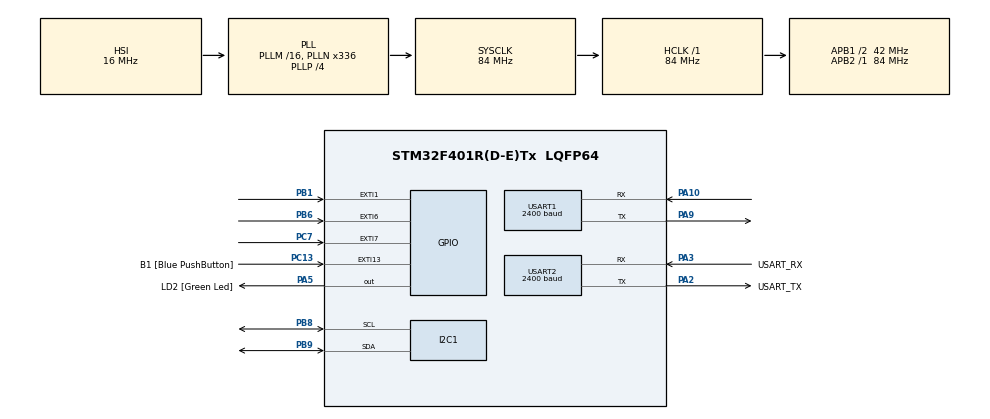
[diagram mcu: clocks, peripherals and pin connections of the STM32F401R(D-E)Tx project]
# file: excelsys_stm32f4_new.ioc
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Mcu.Family=STM32F4
Mcu.Name=STM32F401R(D-E)Tx
Mcu.Package=LQFP64
NVIC.PriorityGroup=NVIC_PRIORITYGROUP_0
NVIC.USART1_IRQn=true\:0\:0\:false\:false\:true\:true\:true\:true
PA10.Mode=Asynchronous
PA10.Signal=USART1_RX
PA13.GPIO_Label=TMS
PA13.Mode=Serial_Wire
PA13.Signal=SYS_JTMS-SWDIO
PA14.GPIO_Label=TCK
PA14.Mode=Serial_Wire
PA14.Signal=SYS_JTCK-SWCLK
PA2.GPIO_Label=USART_TX
PA2.GPIO_Mode=GPIO_MODE_AF_PP
PA2.GPIO_PuPd=GPIO_NOPULL
PA2.GPIO_Speed=GPIO_SPEED_FREQ_LOW
PA2.Mode=Asynchronous
PA2.Signal=USART2_TX
PA3.GPIO_Label=USART_RX
PA3.GPIO_Mode=GPIO_MODE_AF_PP
PA3.GPIO_PuPd=GPIO_NOPULL
PA3.GPIO_Speed=GPIO_SPEED_FREQ_LOW
PA3.Mode=Asynchronous
PA3.Signal=USART2_RX
PA5.GPIO_Label=LD2 [Green Led]
PA5.GPIO_Mode=GPIO_MODE_OUTPUT_PP
PA5.GPIO_PuPd=GPIO_NOPULL
PA5.GPIO_Speed=GPIO_SPEED_FREQ_LOW
PA5.Signal=GPIO_Output
PA9.Mode=Asynchronous
PA9.Signal=USART1_TX
PB1.Signal=GPXTI1
PB3.GPIO_Label=SWO
PB3.Signal=SYS_JTDO-SWO
PB4.Signal=I2C3_SDA
PB6.Signal=GPXTI6
PB8.Mode=I2C
PB8.Signal=I2C1_SCL
PB9.Mode=I2C
PB9.Signal=I2C1_SDA
PC13-ANTI_TAMP.GPIO_Label=B1 [Blue PushButton]
PC13-ANTI_TAMP.GPIO_ModeDefaultEXTI=GPIO_MODE_IT_FALLING
PC13-ANTI_TAMP.GPIO_PuPd=GPIO_NOPULL
PC13-ANTI_TAMP.Signal=GPXTI13
PC14-OSC32_IN.Mode=LSE-External-Oscillator
PC14-OSC32_IN.Signal=RCC_OSC32_IN
PC15-OSC32_OUT.Mode=LSE-External-Oscillator
PC15-OSC32_OUT.Signal=RCC_OSC32_OUT
PC7.Signal=GPXTI7
PH0\ -\ OSC_IN.Mode=HSE-External-Oscillator
PH0\ -\ OSC_IN.Signal=RCC_OSC_IN
PH1\ -\ OSC_OUT.Mode=HSE-External-Oscillator
PH1\ -\ OSC_OUT.Signal=RCC_OSC_OUT
ProjectManager.HeapSize=0x200
ProjectManager.StackSize=0x400
ProjectManager.TargetToolchain=STM32CubeIDE
RCC.48MHZClocksFreq_Value=48000000
RCC.AHBFreq_Value=84000000
RCC.APB1CLKDivider=RCC_HCLK_DIV2
RCC.APB1Freq_Value=42000000
RCC.APB1TimFreq_Value=84000000
RCC.APB2Freq_Value=84000000
RCC.APB2TimFreq_Value=84000000
RCC.CortexFreq_Value=84000000
RCC.HCLKFreq_Value=84000000
RCC.HSE_VALUE=8000000
RCC.HSI_VALUE=16000000
RCC.PLLN=336
RCC.PLLP=RCC_PLLP_DIV4
RCC.PLLQ=7
RCC.SYSCLKFreq_VALUE=84000000
RCC.SYSCLKSource=RCC_SYSCLKSOURCE_PLLCLK
RCC.VCOOutputFreq_Value=336000000
USART1.BaudRate=2400
USART1.VirtualMode=VM_ASYNC
USART2.BaudRate=2400
USART2.Parity=PARITY_NONE
USART2.VirtualMode=VM_ASYNC
USART2.WordLength=WORDLENGTH_8B
board=NUCLEO-F401RE

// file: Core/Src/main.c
/* USER CODE BEGIN Header */
/**
  ******************************************************************************
  * @file           : main.c
  * @brief          : Main program body
  ******************************************************************************
  * @attention
  *
  * Copyright (c) 2022 STMicroelectronics.
  * All rights reserved.
  *
  * This software is licensed under terms that can be found in the LICENSE file
  * in the root directory of this software component.
  * If no LICENSE file comes with this software, it is provided AS-IS.
  *
  ******************************************************************************
  */
/* USER CODE END Header */
#include "main.h"

I2C_HandleTypeDef hi2c1;

UART_HandleTypeDef huart1;
UART_HandleTypeDef huart2;

/* USER CODE BEGIN PV */
//static const uint16_t DEF_SLAVE_ADDR = 0X51<<1; //7 bit addr, shift by 1 bit

/* USER CODE END PV */

void SystemClock_Config(void);
static void MX_GPIO_Init(void);
static void MX_I2C1_Init(void);
static void MX_USART2_UART_Init(void);
static void MX_USART1_UART_Init(void);

/* USER CODE BEGIN 0 */
void HAL_UART_RxCpltCallback(UART_HandleTypeDef *huart);
//void HAL_SMBUS_MasterRxCpltCallback (SMBUS_HandleTypeDef * hsmbus1);
int error;
uint16_t DEF_SLAVE_ADDR/* = 0X51<<1*/;
uint8_t reply[2];
uint16_t command_addr;
uint8_t command_arg[2]; //trying commands of 1 byte long for now
uint8_t command[6];
uint8_t length;
uint8_t ok_1;
uint8_t ok;
uint8_t ok_2;
uint8_t ok_3;
uint8_t arg_ok;
uint8_t addr_ok;
uint8_t read_ok;
uint8_t send_uart_ok;
uint8_t uart_command_ok;
uint8_t i2c_command_ok;
uint16_t PAGE_ADDR;
uint16_t OP_ADDR;
uint16_t VOUT_ADDR;
uint16_t READ_VOUT_ADDR;
uint8_t PAGE_1;
uint8_t OP_EN;
uint8_t VOUT_6_2[2];
uint8_t VOUT_9_7[2];

/* USER CODE END 0 */

int main(void)
{

  /* MCU Configuration--------------------------------------------------------*/

  /* Reset of all peripherals, Initializes the Flash interface and the Systick. */
  HAL_Init();

  /* Configure the system clock */
  SystemClock_Config();

  /* Initialize all configured peripherals */
  MX_GPIO_Init();
  MX_I2C1_Init();
  MX_USART2_UART_Init();
  MX_USART1_UART_Init();
  /* USER CODE BEGIN 2 */
  //uint16_t DEF_SLAVE_ADDR = 0X51<<1;

  uint8_t reply[2];
  uint16_t command_addr;
  uint8_t command_arg[2]; //trying commands of 1 byte long for now
 // uint8_t command[5];
  uint8_t length;

  PAGE_ADDR = 0x00;
  PAGE_1 = 0x01;

  OP_ADDR = 0x01;
  OP_EN = 0x80;

  VOUT_ADDR = 0x21;
  VOUT_6_2[0] = 0x33;
  VOUT_6_2[1] = 0x06;

  READ_VOUT_ADDR = 0x8B;

  VOUT_9_7[0] = 0X07;
  VOUT_9_7[1] = 0X09;
  error = 0b00000000;
  //HAL_SMBUS_Master_Receive_IT(&hsmbus1,DEF_SLAVE_ADDR,  (uint8_t*)reply,sizeof(reply), 10);
  //HAL_UART_Receive_IT(&huart2, (uint8_t*)command, 10);

  /* USER CODE END 2 */

  /* Infinite loop */
  /* USER CODE BEGIN WHILE */

//  ok_1 = HAL_I2C_Mem_Write(&hi2c3, DEF_SLAVE_ADDR, PAGE_ADDR, I2C_MEMADD_SIZE_8BIT, &PAGE_1, 1, 100);
//  ok_2 = HAL_I2C_Mem_Write(&hi2c3, DEF_SLAVE_ADDR, VOUT_ADDR, I2C_MEMADD_SIZE_8BIT, &VOUT_6_2, 1, 100);
//  ok_2 = HAL_I2C_Mem_Write(&hi2c3, DEF_SLAVE_ADDR, OP_ADDR, I2C_MEMADD_SIZE_8BIT, &OP_EN, 1, 100);
  //read_ok = HAL_I2C_Mem_Read(&hi2c3, DEF_SLAVE_ADDR, READ_VOUT_ADDR, I2C_MEMADD_SIZE_8BIT, &reply, 2, 15);
  //send_uart_ok = HAL_UART_Transmit_IT(&huart2, &reply, 2);

  //uart_command_ok  = HAL_UART_Receive_IT(&huart2, command, 6);
  while (1)
  {
    /* USER CODE END WHILE */
	  uart_command_ok  = HAL_UART_Receive_IT(&huart1, command, 6);
  }
}

void SystemClock_Config(void)
{
  RCC_OscInitTypeDef RCC_OscInitStruct = {0};
  RCC_ClkInitTypeDef RCC_ClkInitStruct = {0};

  /** Configure the main internal regulator output voltage
  */
  __HAL_RCC_PWR_CLK_ENABLE();
  __HAL_PWR_VOLTAGESCALING_CONFIG(PWR_REGULATOR_VOLTAGE_SCALE2);

  /** Initializes the RCC Oscillators according to the specified parameters
  * in the RCC_OscInitTypeDef structure.
  */
  RCC_OscInitStruct.OscillatorType = RCC_OSCILLATORTYPE_HSI;
  RCC_OscInitStruct.HSIState = RCC_HSI_ON;
  RCC_OscInitStruct.HSICalibrationValue = RCC_HSICALIBRATION_DEFAULT;
  RCC_OscInitStruct.PLL.PLLState = RCC_PLL_ON;
  RCC_OscInitStruct.PLL.PLLSource = RCC_PLLSOURCE_HSI;
  RCC_OscInitStruct.PLL.PLLM = 16;
  RCC_OscInitStruct.PLL.PLLN = 336;
  RCC_OscInitStruct.PLL.PLLP = RCC_PLLP_DIV4;
  RCC_OscInitStruct.PLL.PLLQ = 7;
  if (HAL_RCC_OscConfig(&RCC_OscInitStruct) != HAL_OK)
  {
    Error_Handler();
  }

  /** Initializes the CPU, AHB and APB buses clocks
  */
  RCC_ClkInitStruct.ClockType = RCC_CLOCKTYPE_HCLK|RCC_CLOCKTYPE_SYSCLK
                              |RCC_CLOCKTYPE_PCLK1|RCC_CLOCKTYPE_PCLK2;
  RCC_ClkInitStruct.SYSCLKSource = RCC_SYSCLKSOURCE_PLLCLK;
  RCC_ClkInitStruct.AHBCLKDivider = RCC_SYSCLK_DIV1;
  RCC_ClkInitStruct.APB1CLKDivider = RCC_HCLK_DIV2;
  RCC_ClkInitStruct.APB2CLKDivider = RCC_HCLK_DIV1;

  if (HAL_RCC_ClockConfig(&RCC_ClkInitStruct, FLASH_LATENCY_2) != HAL_OK)
  {
    Error_Handler();
  }
}

static void MX_I2C1_Init(void)
{

  hi2c1.Instance = I2C1;
  hi2c1.Init.ClockSpeed = 100000;
  hi2c1.Init.DutyCycle = I2C_DUTYCYCLE_2;
  hi2c1.Init.OwnAddress1 = 0;
  hi2c1.Init.AddressingMode = I2C_ADDRESSINGMODE_7BIT;
  hi2c1.Init.DualAddressMode = I2C_DUALADDRESS_DISABLE;
  hi2c1.Init.OwnAddress2 = 0;
  hi2c1.Init.GeneralCallMode = I2C_GENERALCALL_DISABLE;
  hi2c1.Init.NoStretchMode = I2C_NOSTRETCH_DISABLE;
  if (HAL_I2C_Init(&hi2c1) != HAL_OK)
  {
    Error_Handler();
  }

}

static void MX_USART1_UART_Init(void)
{

  huart1.Instance = USART1;
  huart1.Init.BaudRate = 2400;
  huart1.Init.WordLength = UART_WORDLENGTH_8B;
  huart1.Init.StopBits = UART_STOPBITS_1;
  huart1.Init.Parity = UART_PARITY_NONE;
  huart1.Init.Mode = UART_MODE_TX_RX;
  huart1.Init.HwFlowCtl = UART_HWCONTROL_NONE;
  huart1.Init.OverSampling = UART_OVERSAMPLING_16;
  if (HAL_UART_Init(&huart1) != HAL_OK)
  {
    Error_Handler();
  }

}

static void MX_USART2_UART_Init(void)
{

  huart2.Instance = USART2;
  huart2.Init.BaudRate = 2400;
  huart2.Init.WordLength = UART_WORDLENGTH_8B;
  huart2.Init.StopBits = UART_STOPBITS_1;
  huart2.Init.Parity = UART_PARITY_NONE;
  huart2.Init.Mode = UART_MODE_TX_RX;
  huart2.Init.HwFlowCtl = UART_HWCONTROL_NONE;
  huart2.Init.OverSampling = UART_OVERSAMPLING_16;
  if (HAL_UART_Init(&huart2) != HAL_OK)
  {
    Error_Handler();
  }

}

static void MX_GPIO_Init(void)
{
  GPIO_InitTypeDef GPIO_InitStruct = {0};

  /* GPIO Ports Clock Enable */
  __HAL_RCC_GPIOC_CLK_ENABLE();
  __HAL_RCC_GPIOH_CLK_ENABLE();
  __HAL_RCC_GPIOA_CLK_ENABLE();
  __HAL_RCC_GPIOB_CLK_ENABLE();

  /*Configure GPIO pin Output Level */
  HAL_GPIO_WritePin(LD2_GPIO_Port, LD2_Pin, GPIO_PIN_RESET);

  /*Configure GPIO pin : B1_Pin */
  GPIO_InitStruct.Pin = B1_Pin;
  GPIO_InitStruct.Mode = GPIO_MODE_IT_FALLING;
  GPIO_InitStruct.Pull = GPIO_NOPULL;
  HAL_GPIO_Init(B1_GPIO_Port, &GPIO_InitStruct);

  /*Configure GPIO pin : LD2_Pin */
  GPIO_InitStruct.Pin = LD2_Pin;
  GPIO_InitStruct.Mode = GPIO_MODE_OUTPUT_PP;
  GPIO_InitStruct.Pull = GPIO_NOPULL;
  GPIO_InitStruct.Speed = GPIO_SPEED_FREQ_LOW;
  HAL_GPIO_Init(LD2_GPIO_Port, &GPIO_InitStruct);

  /*Configure GPIO pins : PB1 PB6 */
  GPIO_InitStruct.Pin = GPIO_PIN_1|GPIO_PIN_6;
  GPIO_InitStruct.Mode = GPIO_MODE_IT_RISING;
  GPIO_InitStruct.Pull = GPIO_NOPULL;
  HAL_GPIO_Init(GPIOB, &GPIO_InitStruct);

  /*Configure GPIO pin : PC7 */
  GPIO_InitStruct.Pin = GPIO_PIN_7;
  GPIO_InitStruct.Mode = GPIO_MODE_IT_RISING;
  GPIO_InitStruct.Pull = GPIO_NOPULL;
  HAL_GPIO_Init(GPIOC, &GPIO_InitStruct);

  /*Configure GPIO pin : PB4 */
  GPIO_InitStruct.Pin = GPIO_PIN_4;
  GPIO_InitStruct.Mode = GPIO_MODE_AF_OD;
  GPIO_InitStruct.Pull = GPIO_NOPULL;
  GPIO_InitStruct.Speed = GPIO_SPEED_FREQ_VERY_HIGH;
  GPIO_InitStruct.Alternate = GPIO_AF9_I2C3;
  HAL_GPIO_Init(GPIOB, &GPIO_InitStruct);

}

/* USER CODE BEGIN 4 */
/* Interrupt function
 * Requires: UART instance
 * If UART2 is triggered (command sent from server), nucleo transmits message to power supply*/

void HAL_UART_RxCpltCallback(UART_HandleTypeDef *huart)
{
	//HAL_GPIO_TogglePin(LD2_GPIO_Port,LD2_Pin);
	if(huart -> Instance == USART1){
		HAL_GPIO_TogglePin(LD2_GPIO_Port,LD2_Pin);
	}
	DEF_SLAVE_ADDR = command[0]<<1;
	if(command[1] == 0){ //write
		command_arg[0] = command[4];
		command_arg[1] = command[5];
		command_addr = command[3];
		length = command[2];
		i2c_command_ok = HAL_I2C_Mem_Write(&hi2c1, DEF_SLAVE_ADDR, command_addr , I2C_MEMADD_SIZE_8BIT, command_arg, length, 10);
	}
	else if(command[1] == 1){ //  read
		read_ok = HAL_I2C_Mem_Read(&hi2c1, DEF_SLAVE_ADDR, command[3] , I2C_MEMADD_SIZE_8BIT, &reply, command[2], 10);
		send_uart_ok = HAL_UART_Transmit(&huart1, &reply, command[2], 10);
	}
	else { // command[1] == 2 error
		 HAL_UART_Transmit(&huart1, error, sizeof(error), 200);
	}
}

/* Interrupt function
 * Requires: UART instance
 * If i2c is triggered (reply sent from power supply), nucleo transmits message to server
 */
//is there an overflow if it sends lots of commands and miss shooting
	//what happens then?
	//same time commands, which interupt
	//which is the priority - double check - can always resend command but would want to know error msg
	// run serial link as fast as we can at leat 115200 (max) go fro 2MHz, spending less time in isr and more quick to deal with other stuff - "hurry up and wait" get everything done quickly to sit in idle :)
// what happens if you receive properly formatted null response? set a flag?
// also set LED for commands sent/receive?

/*
void HAL_SMBUS_MasterRxCpltCallback (SMBUS_HandleTypeDef * hsmbus1) {
	// handles data received from Excelsys
	HAL_GPIO_TogglePin(LD2_GPIO_Port, LD2_Pin);
	HAL_SMBUS_Master_Receive_IT(&hsmbus1, DEF_SLAVE_ADDR, reply,sizeof(reply), 10);
	HAL_UART_Transmit(&huart2, reply, sizeof(reply), 200); // 2 bytes long
}*/

//need to think about how to handle errors
// EXTI Line9 External Interrupt ISR Handler CallBackFun

void HAL_GPIO_EXTI_Callback(uint16_t GPIO_Pin)
{
	// want to assign reply the same way that status word does. assign bits for
	// each error.
	// B2 = OTP
	// B4 = PG
	// B1 = Fan Fail
	// B3 = AC fail
	error = 0b00000000;
    if(GPIO_Pin == PG_Global_Pin)
    {
    	error = error | 0b00001000;
    }
    if(GPIO_Pin == FAN_Fail_Pin)
        {
    	 error = error | 0b00000001;
        }
    if(GPIO_Pin == AC_Fail_Pin)
        {
    	 error = error | 0b00000100;
        }
    if(GPIO_Pin == OTP_Pin)
        {
    	 error = error | 0b00000010;
        }
    HAL_GPIO_TogglePin(LD2_GPIO_Port,LD2_Pin);
}

/* USER CODE END 4 */

void Error_Handler(void)
{
  __disable_irq();
  while (1)
  {
  }
}
